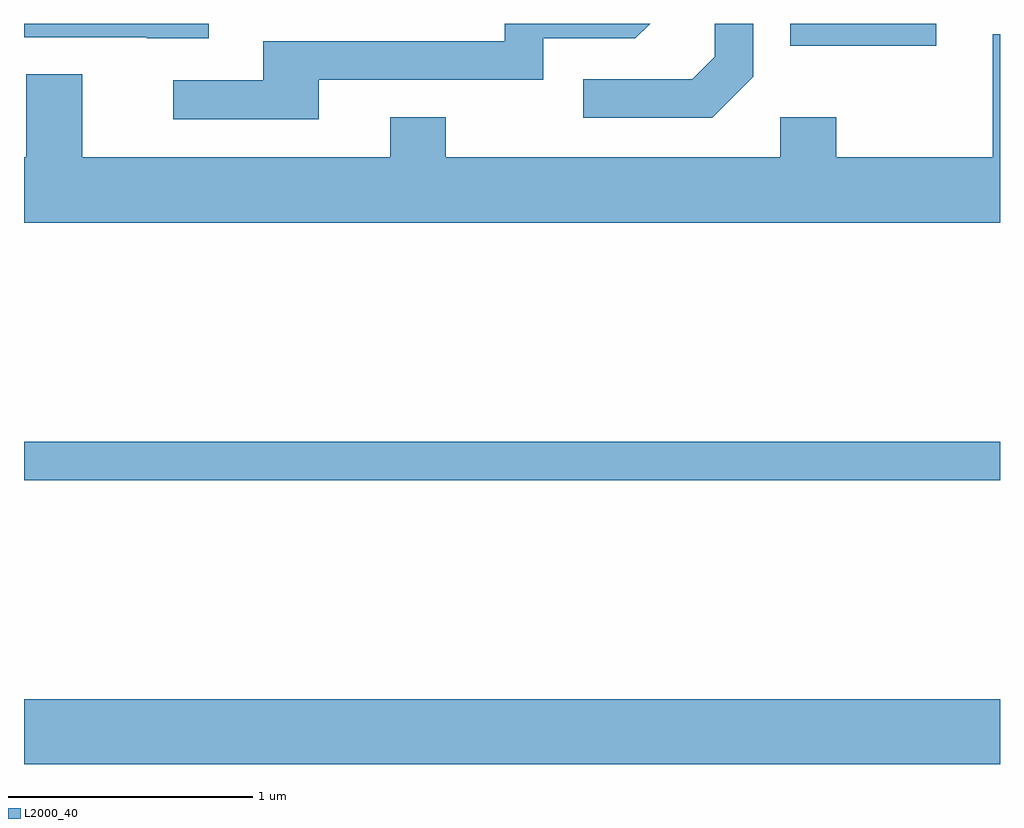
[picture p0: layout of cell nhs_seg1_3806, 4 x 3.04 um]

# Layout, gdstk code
import gdstk
lib = gdstk.Library(unit=1e-6, precision=1e-09)
def R(c, l, rs):  # rectangles x0, y0, x1, y1
    for r in rs: c.add(gdstk.rectangle(r[:2], r[2:], *l))
def P(c, l, *ps):  # polygons
    for p in ps: c.add(gdstk.Polygon(p, *l))
L2000_40 = (2000, 40)

nhs_seg1_3806 = lib.new_cell('nhs_seg1_3806')
R(nhs_seg1_3806, L2000_40, [(299.611,910.676,303.611,910.944), (299.611,911.841,303.611,911.999), (302.751,913.621,303.349,913.712)])
P(nhs_seg1_3806, L2000_40, [(302.599,913.494),(302.599,913.712),(302.441,913.712),(302.441,913.577),(302.349,913.484),(301.903,913.484),(301.903,913.326),(302.432,913.326)],
  [(300.369,913.712),(299.611,913.712),(299.611,913.656),(300.115,913.656),(300.115,913.651),(300.369,913.651)],
  [(300.819,913.481),(301.739,913.481),(301.739,913.651),(302.117,913.651),(302.178,913.712),(301.581,913.712),(301.581,913.639),(300.591,913.639),(300.591,913.479),(300.223,913.479),(300.223,913.321),(300.819,913.321)],
  [(303.611,913.669),(303.581,913.669),(303.581,913.164),(302.939,913.164),(302.939,913.329),(302.711,913.329),(302.711,913.164),(301.339,913.164),(301.339,913.329),(301.111,913.329),(301.111,913.164),(299.849,913.164),(299.849,913.504),(299.621,913.504),(299.621,913.164),(299.611,913.164),(299.611,912.896),(303.611,912.896)])

lib.write_gds('nhs_seg1_3806.gds')
